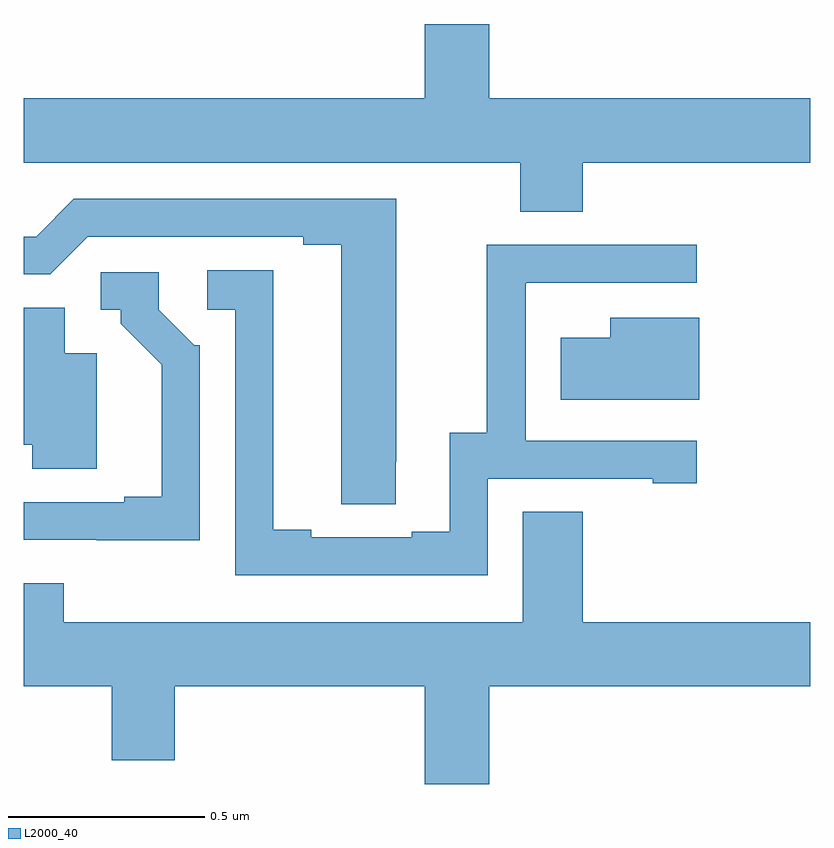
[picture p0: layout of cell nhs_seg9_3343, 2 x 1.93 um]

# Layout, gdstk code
import gdstk
lib = gdstk.Library(unit=1e-6, precision=1e-09)
def P(c, l, *ps):  # polygons
    for p in ps: c.add(gdstk.Polygon(p, *l))
L2000_40 = (2000, 40)

nhs_seg9_3343 = lib.new_cell('nhs_seg9_3343')
P(nhs_seg9_3343, L2000_40, [(153.422,1203.08),(154,1203.08),(154,1203.244),(153.184,1203.244),(153.184,1203.433),(153.02,1203.433),(153.02,1203.244),(152,1203.244),(152,1203.08),(153.262,1203.08),(153.262,1202.956),(153.422,1202.956)],
  [(152.946,1202.32),(152.947,1202.32),(152.947,1202.988),(152.127,1202.988),(152.031,1202.892),(152,1202.892),(152,1202.796),(152.067,1202.796),(152.163,1202.892),(152.711,1202.892),(152.711,1202.872),(152.807,1202.872),(152.807,1202.212),(152.946,1202.212)],
  [(153.18,1202.277),(153.599,1202.277),(153.599,1202.265),(153.712,1202.265),(153.712,1202.373),(153.276,1202.373),(153.276,1202.774),(153.278,1202.774),(153.278,1202.775),(153.712,1202.775),(153.712,1202.871),(153.178,1202.871),(153.178,1202.393),(153.083,1202.393),(153.083,1202.142),(152.987,1202.142),(152.987,1202.127),(152.731,1202.127),(152.731,1202.147),(152.635,1202.147),(152.635,1202.807),(152.466,1202.807),(152.466,1202.706),(152.538,1202.706),(152.538,1202.031),(153.18,1202.031)],
  [(152.448,1202.616),(152.433,1202.616),(152.343,1202.706),(152.343,1202.802),(152.196,1202.802),(152.196,1202.706),(152.246,1202.706),(152.246,1202.671),(152.351,1202.566),(152.351,1202.23),(152.255,1202.23),(152.255,1202.217),(152,1202.217),(152,1202.121),(152.185,1202.121),(152.185,1202.12),(152.448,1202.12)],
  [(152.185,1202.596),(152.104,1202.596),(152.104,1202.711),(152,1202.711),(152,1202.363),(152.021,1202.363),(152.021,1202.302),(152.185,1202.302)],
  [(153.718,1202.686),(153.491,1202.686),(153.491,1202.635),(153.366,1202.635),(153.366,1202.477),(153.718,1202.477)],
  [(153.184,1201.748),(154,1201.748),(154,1201.912),(153.422,1201.912),(153.422,1202.192),(153.269,1202.192),(153.269,1201.912),(152.102,1201.912),(152.102,1202.01),(152,1202.01),(152,1201.748),(152.224,1201.748),(152.224,1201.561),(152.384,1201.561),(152.384,1201.748),(153.02,1201.748),(153.02,1201.5),(153.184,1201.5)])

lib.write_gds('nhs_seg9_3343.gds')
